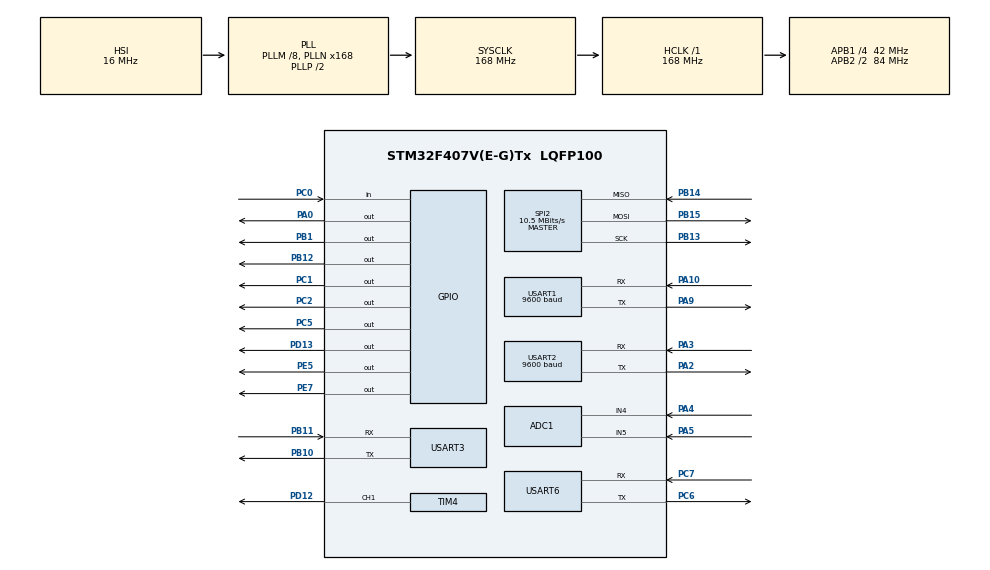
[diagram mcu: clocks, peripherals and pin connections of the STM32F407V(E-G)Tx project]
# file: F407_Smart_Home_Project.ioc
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ADC1.Channel-0\#ChannelRegularConversion=ADC_CHANNEL_4
ADC1.NbrOfConversionFlag=1
ADC1.Rank-0\#ChannelRegularConversion=1
ADC1.SamplingTime-0\#ChannelRegularConversion=ADC_SAMPLETIME_3CYCLES
ADC1.master=1
Mcu.Family=STM32F4
Mcu.Name=STM32F407V(E-G)Tx
Mcu.Package=LQFP100
NVIC.PriorityGroup=NVIC_PRIORITYGROUP_4
NVIC.USART1_IRQn=true\:0\:0\:false\:false\:true\:true\:true\:true
NVIC.USART2_IRQn=true\:0\:0\:false\:false\:true\:true\:true\:true
NVIC.USART3_IRQn=true\:0\:0\:false\:false\:true\:true\:true\:true
NVIC.USART6_IRQn=true\:0\:0\:false\:false\:true\:true\:true\:true
PA0-WKUP.PinState=GPIO_PIN_SET
PA0-WKUP.Signal=GPIO_Output
PA10.Mode=Asynchronous
PA10.Signal=USART1_RX
PA13.Mode=Serial_Wire
PA13.Signal=SYS_JTMS-SWDIO
PA14.Mode=Serial_Wire
PA14.Signal=SYS_JTCK-SWCLK
PA2.Mode=Asynchronous
PA2.Signal=USART2_TX
PA3.Mode=Asynchronous
PA3.Signal=USART2_RX
PA4.Signal=ADCx_IN4
PA5.Signal=ADCx_IN5
PA9.Mode=Asynchronous
PA9.Signal=USART1_TX
PB10.Mode=Asynchronous
PB10.Signal=USART3_TX
PB11.Mode=Asynchronous
PB11.Signal=USART3_RX
PB1.Signal=GPIO_Output
PB12.Signal=GPIO_Output
PB13.Mode=Full_Duplex_Master
PB13.Signal=SPI2_SCK
PB14.Mode=Full_Duplex_Master
PB14.Signal=SPI2_MISO
PB15.Mode=Full_Duplex_Master
PB15.Signal=SPI2_MOSI
PC0.GPIO_PuPd=GPIO_PULLUP
PC0.Signal=GPIO_Input
PC1.Signal=GPIO_Output
PC14-OSC32_IN.Mode=LSE-External-Oscillator
PC14-OSC32_IN.Signal=RCC_OSC32_IN
PC15-OSC32_OUT.Mode=LSE-External-Oscillator
PC15-OSC32_OUT.Signal=RCC_OSC32_OUT
PC2.Signal=GPIO_Output
PC5.Signal=GPIO_Output
PC6.Mode=Asynchronous
PC6.Signal=USART6_TX
PC7.Mode=Asynchronous
PC7.Signal=USART6_RX
PD12.Signal=S_TIM4_CH1
PD13.PinState=GPIO_PIN_RESET
PD13.Signal=GPIO_Output
PE7.Signal=GPIO_Output
PE5.Signal=GPIO_Output
PH0-OSC_IN.Mode=HSE-External-Oscillator
PH0-OSC_IN.Signal=RCC_OSC_IN
PH1-OSC_OUT.Mode=HSE-External-Oscillator
PH1-OSC_OUT.Signal=RCC_OSC_OUT
ProjectManager.HeapSize=0x200
ProjectManager.StackSize=0x400
ProjectManager.TargetToolchain=MDK-ARM V5.32
RCC.48MHZClocksFreq_Value=84000000
RCC.AHBFreq_Value=168000000
RCC.APB1CLKDivider=RCC_HCLK_DIV4
RCC.APB1Freq_Value=42000000
RCC.APB1TimFreq_Value=84000000
RCC.APB2CLKDivider=RCC_HCLK_DIV2
RCC.APB2Freq_Value=84000000
RCC.APB2TimFreq_Value=168000000
RCC.CortexFreq_Value=168000000
RCC.HCLKFreq_Value=168000000
RCC.HSE_VALUE=25000000
RCC.HSI_VALUE=16000000
RCC.PLLM=8
RCC.PLLN=168
RCC.SYSCLKFreq_VALUE=168000000
RCC.SYSCLKSource=RCC_SYSCLKSOURCE_PLLCLK
RCC.VCOOutputFreq_Value=336000000
SH.ADCx_IN4.0=ADC1_IN4,IN4
SH.ADCx_IN5.0=ADC1_IN5,IN5
SH.S_TIM4_CH1.0=TIM4_CH1,PWM Generation1 CH1
SPI2.BaudRatePrescaler=SPI_BAUDRATEPRESCALER_4
SPI2.CalculateBaudRate=10.5 MBits/s
SPI2.Direction=SPI_DIRECTION_2LINES
SPI2.Mode=SPI_MODE_MASTER
SPI2.VirtualType=VM_MASTER
TIM4.Channel-PWM\ Generation1\ CH1=TIM_CHANNEL_1
TIM4.Period=19999
TIM4.Prescaler=83
USART1.BaudRate=9600
USART1.VirtualMode=VM_ASYNC
USART2.BaudRate=9600
USART2.VirtualMode=VM_ASYNC
USART3.VirtualMode=VM_ASYNC
USART6.VirtualMode=VM_ASYNC
VP_TIM4_VS_ClockSourceINT.Mode=Internal
board=custom

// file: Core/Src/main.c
/* USER CODE BEGIN Header */
/**
  ******************************************************************************
  * @file           : main.c
  * @brief          : Main program body
  ******************************************************************************
  * @attention
  *
  * Copyright (c) 2026 STMicroelectronics.
  * All rights reserved.
  *
  * This software is licensed under terms that can be found in the LICENSE file
  * in the root directory of this software component.
  * If no LICENSE file comes with this software, it is provided AS-IS.
  *
  ******************************************************************************
  */
/* USER CODE END Header */
#include "main.h"
#include "adc.h"
#include "spi.h"
#include "tim.h"
#include "usart.h"
#include "gpio.h"

/* USER CODE BEGIN Includes */
#include "sensors.h"
#include "actuators.h"
#include "protocol.h"
#include "esp8266.h"
#include "voice_module.h"
#include "bluetooth_link.h"
#include "display_ui.h"
#include "lvgl.h"
#include "rtthread.h"
#include <string.h>
/* USER CODE END Includes */

/* USER CODE BEGIN PM */
#define WIFI_LOCATION_PERIOD_MS   60000U
#define AI_ANALYSIS_PERIOD_MS     120000U

/* USER CODE END PM */

/* USER CODE BEGIN PV */
static SensorData_t sensor_data;
static Esp8266Info_t wifi_info;
static rt_mutex_t data_mutex = RT_NULL;
static rt_mutex_t ui_mutex = RT_NULL;
static rt_mutex_t uart1_mutex = RT_NULL;
/* USER CODE END PV */

void SystemClock_Config(void);

/* USER CODE BEGIN 0 */
static void Uart1_SendString(const char *str)
{
    if (uart1_mutex != RT_NULL) {
        rt_mutex_take(uart1_mutex, RT_WAITING_FOREVER);
    }
    HAL_UART_Transmit(&huart1, (uint8_t *)str, (uint16_t)strlen(str), 1000);
    if (uart1_mutex != RT_NULL) {
        rt_mutex_release(uart1_mutex);
    }
}

static void PrintWifiInfo(const Esp8266Info_t *info)
{
    if (info->wifi_ok) {
        Uart1_SendString("WIFI:OK\r\n");
    } else {
        Uart1_SendString("WIFI:FAIL\r\n");
    }

    if (info->time_ok) {
        Uart1_SendString("TIME:");
        Uart1_SendString(info->time);
        Uart1_SendString("\r\n");
    } else {
        Uart1_SendString("TIME:FAIL\r\n");
    }

    if (info->location_ok) {
        Uart1_SendString("LOC:");
        Uart1_SendString(info->location);
        if (info->longitude[0] != '\0' && info->latitude[0] != '\0') {
            Uart1_SendString(" LNG:");
            Uart1_SendString(info->longitude);
            Uart1_SendString(" LAT:");
            Uart1_SendString(info->latitude);
        }
        Uart1_SendString("\r\n");
    } else {
        Uart1_SendString("LOC:FAIL\r\n");
    }

    if (info->weather_ok) {
        Uart1_SendString("WEATHER:");
        Uart1_SendString(info->weather_text);
        if (info->weather_temp[0] != '\0') {
            Uart1_SendString(" TEMP:");
            Uart1_SendString(info->weather_temp);
            Uart1_SendString("C");
        }
        if (info->weather_humidity[0] != '\0') {
            Uart1_SendString(" RH:");
            Uart1_SendString(info->weather_humidity);
            Uart1_SendString("%");
        }
        if (info->weather_wind[0] != '\0') {
            Uart1_SendString(" WIND:");
            Uart1_SendString(info->weather_wind);
        }
        Uart1_SendString("\r\n");
    } else {
        Uart1_SendString("WEATHER:FAIL\r\n");
    }
}

static void PrintClockAndSensors(void)
{
    SensorData_t data_snapshot;
    Esp8266Info_t wifi_snapshot;

    if (data_mutex != RT_NULL) {
        rt_mutex_take(data_mutex, RT_WAITING_FOREVER);
    }
    data_snapshot = sensor_data;
    wifi_snapshot = wifi_info;
    if (data_mutex != RT_NULL) {
        rt_mutex_release(data_mutex);
    }

    if (uart1_mutex != RT_NULL) {
        rt_mutex_take(uart1_mutex, RT_WAITING_FOREVER);
    }
    BluetoothLink_SendTelemetry(&data_snapshot, &wifi_snapshot);
    if (uart1_mutex != RT_NULL) {
        rt_mutex_release(uart1_mutex);
    }
}

static uint8_t WifiInfoIsComplete(const Esp8266Info_t *info)
{
    return (info != NULL &&
            info->wifi_ok &&
            info->time_ok &&
            info->location_ok &&
            info->weather_ok) ? 1U : 0U;
}

static void SyncWifiInfo(void)
{
    Esp8266Info_t new_info;

    Uart1_SendString("WIFI AUTO SYNC START\r\n");
    if (ui_mutex != RT_NULL) {
        rt_mutex_take(ui_mutex, RT_WAITING_FOREVER);
    }
    DisplayUI_ShowStatus("WiFi sync...");
    if (ui_mutex != RT_NULL) {
        rt_mutex_release(ui_mutex);
    }

    if (Esp8266_Sync(&new_info)) {
        if (data_mutex != RT_NULL) {
            rt_mutex_take(data_mutex, RT_WAITING_FOREVER);
        }
        new_info.ai_ok = wifi_info.ai_ok;
        memcpy(new_info.ai_advice, wifi_info.ai_advice, sizeof(new_info.ai_advice));
        memcpy(new_info.ai_error, wifi_info.ai_error, sizeof(new_info.ai_error));
        memcpy(&wifi_info, &new_info, sizeof(wifi_info));
        if (data_mutex != RT_NULL) {
            rt_mutex_release(data_mutex);
        }

        PrintWifiInfo(&new_info);
        Uart1_SendString("SYNC:PRINT DONE\r\n");
        if (ui_mutex != RT_NULL) {
            rt_mutex_take(ui_mutex, RT_WAITING_FOREVER);
        }
        DisplayUI_ShowStatus(WifiInfoIsComplete(&new_info) ? "WiFi data OK" : "WiFi partial");
        if (ui_mutex != RT_NULL) {
            rt_mutex_release(ui_mutex);
        }
        Uart1_SendString("SYNC:STATUS DONE\r\n");
    } else {
        Uart1_SendString("WIFI AUTO SYNC FAIL\r\nERR:");
        Uart1_SendString(Esp8266_GetLastError());
        Uart1_SendString("\r\n");
        if (ui_mutex != RT_NULL) {
            rt_mutex_take(ui_mutex, RT_WAITING_FOREVER);
        }
        DisplayUI_ShowStatus("WiFi sync FAIL");
        if (ui_mutex != RT_NULL) {
            rt_mutex_release(ui_mutex);
        }
    }
}

#if 0
static void AnalyzeCropWithDoubao(void)
{
    SensorData_t data_snapshot;
    Esp8266Info_t wifi_snapshot;
    char advice[96] = {0};
    uint8_t ok;

    if (data_mutex != RT_NULL) {
        rt_mutex_take(data_mutex, RT_WAITING_FOREVER);
    }
    data_snapshot = sensor_data;
    wifi_snapshot = wifi_info;
    if (data_mutex != RT_NULL) {
        rt_mutex_release(data_mutex);
    }

    if (!wifi_snapshot.wifi_ok) {
        if (data_mutex != RT_NULL) {
            rt_mutex_take(data_mutex, RT_WAITING_FOREVER);
        }
        wifi_info.ai_ok = 0U;
        wifi_info.ai_advice[0] = '\0';
        strncpy(wifi_info.ai_error, "WIFI_FAIL", sizeof(wifi_info.ai_error) - 1U);
        wifi_info.ai_error[sizeof(wifi_info.ai_error) - 1U] = '\0';
        if (data_mutex != RT_NULL) {
            rt_mutex_release(data_mutex);
        }
        Uart1_SendString("DOUBAO:SKIP WIFI_FAIL\r\n");
        return;
    }

    Uart1_SendString("DOUBAO:ANALYZE START\r\n");
    ok = Esp8266_AnalyzeCrop(&data_snapshot, &wifi_snapshot, advice, sizeof(advice));

    if (data_mutex != RT_NULL) {
        rt_mutex_take(data_mutex, RT_WAITING_FOREVER);
    }
    wifi_info.ai_ok = ok;
    if (ok) {
        strncpy(wifi_info.ai_advice, advice, sizeof(wifi_info.ai_advice) - 1U);
        wifi_info.ai_advice[sizeof(wifi_info.ai_advice) - 1U] = '\0';
        wifi_info.ai_error[0] = '\0';
    } else {
        wifi_info.ai_advice[0] = '\0';
        strncpy(wifi_info.ai_error, Esp8266_GetLastError(), sizeof(wifi_info.ai_error) - 1U);
        wifi_info.ai_error[sizeof(wifi_info.ai_error) - 1U] = '\0';
    }
    if (data_mutex != RT_NULL) {
        rt_mutex_release(data_mutex);
    }

    if (ok) {
        Uart1_SendString("DOUBAO:OK ");
        Uart1_SendString(advice);
        Uart1_SendString("\r\n");
    } else {
        Uart1_SendString("DOUBAO:FAIL ");
        Uart1_SendString(Esp8266_GetLastError());
        Uart1_SendString("\r\n");
    }
}
#endif

static void SensorThreadEntry(void *parameter)
{
    SensorData_t data;

    RT_UNUSED(parameter);
    while (1) {
        Sensors_ReadAll(&data);
        if (data_mutex != RT_NULL) {
            rt_mutex_take(data_mutex, RT_WAITING_FOREVER);
        }
        sensor_data = data;
        if (data_mutex != RT_NULL) {
            rt_mutex_release(data_mutex);
        }

        PrintClockAndSensors();
        rt_thread_mdelay(1000);
    }
}

static void WifiThreadEntry(void *parameter)
{
    uint32_t elapsed_ms = 0U;

    RT_UNUSED(parameter);
    rt_thread_mdelay(1500);
    SyncWifiInfo();

    while (1) {
        rt_thread_mdelay(1000);
        elapsed_ms += 1000U;

        if (elapsed_ms % WIFI_LOCATION_PERIOD_MS == 0U) {
            SyncWifiInfo();
        }
    }
}

static void ProtocolThreadEntry(void *parameter)
{
    RT_UNUSED(parameter);
    while (1) {
        Protocol_Process();
        rt_thread_mdelay(10);
    }
}

static void VoiceThreadEntry(void *parameter)
{
    SensorData_t data_snapshot;
    Esp8266Info_t wifi_snapshot;

    RT_UNUSED(parameter);
    while (1) {
        if (data_mutex != RT_NULL) {
            rt_mutex_take(data_mutex, RT_WAITING_FOREVER);
        }
        data_snapshot = sensor_data;
        wifi_snapshot = wifi_info;
        if (data_mutex != RT_NULL) {
            rt_mutex_release(data_mutex);
        }

        VoiceModule_Process(&data_snapshot, &wifi_snapshot);
        rt_thread_mdelay(10);
    }
}

static void DisplayThreadEntry(void *parameter)
{
    SensorData_t data_snapshot;
    Esp8266Info_t wifi_snapshot;
    uint32_t last_update_tick = 0U;

    RT_UNUSED(parameter);
    while (1) {
        if (HAL_GetTick() - last_update_tick >= 1000U) {
            last_update_tick = HAL_GetTick();
            if (data_mutex != RT_NULL) {
                rt_mutex_take(data_mutex, RT_WAITING_FOREVER);
            }
            data_snapshot = sensor_data;
            wifi_snapshot = wifi_info;
            if (data_mutex != RT_NULL) {
                rt_mutex_release(data_mutex);
            }

            if (ui_mutex != RT_NULL) {
                rt_mutex_take(ui_mutex, RT_WAITING_FOREVER);
            }
            DisplayUI_Update(&data_snapshot, &wifi_snapshot);
            if (ui_mutex != RT_NULL) {
                rt_mutex_release(ui_mutex);
            }
        }

        if (ui_mutex != RT_NULL) {
            rt_mutex_take(ui_mutex, RT_WAITING_FOREVER);
        }
        DisplayUI_Process();
        if (ui_mutex != RT_NULL) {
            rt_mutex_release(ui_mutex);
        }
        rt_thread_mdelay(5);
    }
}

static void ActuatorThreadEntry(void *parameter)
{
    RT_UNUSED(parameter);
    while (1) {
        Buzzer_Process();
        rt_thread_mdelay(10);
    }
}

static void CreateAppThread(const char *name,
                            void (*entry)(void *parameter),
                            rt_uint32_t stack_size,
                            rt_uint8_t priority,
                            rt_uint32_t tick)
{
    rt_thread_t tid;

    tid = rt_thread_create(name, entry, RT_NULL, stack_size, priority, tick);
    if (tid != RT_NULL) {
        rt_thread_startup(tid);
    } else {
        Uart1_SendString("THREAD CREATE FAIL:");
        Uart1_SendString(name);
        Uart1_SendString("\r\n");
    }
}
/* USER CODE END 0 */

int main(void)
{

  /* MCU Configuration--------------------------------------------------------*/

  /* HAL and system clock are initialized in rt_hw_board_init(). */

  /* System clock is already configured before the RT-Thread scheduler starts. */

  /* Initialize all configured peripherals */
  MX_GPIO_Init();
  MX_ADC1_Init();
  MX_SPI2_Init();
  MX_TIM4_Init();
  MX_USART1_UART_Init();
  MX_USART2_UART_Init();
  MX_USART3_UART_Init();
  MX_USART6_UART_Init();
  /* USER CODE BEGIN 2 */
  data_mutex = rt_mutex_create("datam", RT_IPC_FLAG_PRIO);
  ui_mutex = rt_mutex_create("uim", RT_IPC_FLAG_PRIO);
  uart1_mutex = rt_mutex_create("u1m", RT_IPC_FLAG_PRIO);
  Actuators_Init();
  Sensors_Init();
  DisplayUI_Init();
  Esp8266_Init();
  Protocol_Init();
  VoiceModule_Init();
  HAL_UART_Transmit(&huart1, (uint8_t *)"START\r\n", 7, 1000);
  Uart1_SendString("RT-Thread Nano start\r\n");
  Uart1_SendString("VOICE:USART6 PC6 TX PC7 RX\r\n");
  CreateAppThread("sensor", SensorThreadEntry, 2048, 12, 10);
  CreateAppThread("wifi", WifiThreadEntry, 4096, 16, 10);
  CreateAppThread("proto", ProtocolThreadEntry, 1536, 11, 10);
  CreateAppThread("voice", VoiceThreadEntry, 2048, 13, 10);
  CreateAppThread("disp", DisplayThreadEntry, 4096, 14, 10);
  CreateAppThread("act", ActuatorThreadEntry, 1024, 10, 10);
  /* USER CODE END 2 */

  /* Infinite loop */
  while (1)
  {

    /* USER CODE BEGIN 3 */
    rt_thread_mdelay(1000);
  }
  /* USER CODE END 3 */
}

void SystemClock_Config(void)
{
  RCC_OscInitTypeDef RCC_OscInitStruct = {0};
  RCC_ClkInitTypeDef RCC_ClkInitStruct = {0};

  /** Configure the main internal regulator output voltage
  */
  __HAL_RCC_PWR_CLK_ENABLE();
  __HAL_PWR_VOLTAGESCALING_CONFIG(PWR_REGULATOR_VOLTAGE_SCALE1);

  /** Initializes the RCC Oscillators according to the specified parameters
  * in the RCC_OscInitTypeDef structure.
  */
  RCC_OscInitStruct.OscillatorType = RCC_OSCILLATORTYPE_HSI;
  RCC_OscInitStruct.HSIState = RCC_HSI_ON;
  RCC_OscInitStruct.HSICalibrationValue = RCC_HSICALIBRATION_DEFAULT;
  RCC_OscInitStruct.PLL.PLLState = RCC_PLL_ON;
  RCC_OscInitStruct.PLL.PLLSource = RCC_PLLSOURCE_HSI;
  RCC_OscInitStruct.PLL.PLLM = 8;
  RCC_OscInitStruct.PLL.PLLN = 168;
  RCC_OscInitStruct.PLL.PLLP = RCC_PLLP_DIV2;
  RCC_OscInitStruct.PLL.PLLQ = 4;
  if (HAL_RCC_OscConfig(&RCC_OscInitStruct) != HAL_OK)
  {
    Error_Handler();
  }

  /** Initializes the CPU, AHB and APB buses clocks
  */
  RCC_ClkInitStruct.ClockType = RCC_CLOCKTYPE_HCLK|RCC_CLOCKTYPE_SYSCLK
                              |RCC_CLOCKTYPE_PCLK1|RCC_CLOCKTYPE_PCLK2;
  RCC_ClkInitStruct.SYSCLKSource = RCC_SYSCLKSOURCE_PLLCLK;
  RCC_ClkInitStruct.AHBCLKDivider = RCC_SYSCLK_DIV1;
  RCC_ClkInitStruct.APB1CLKDivider = RCC_HCLK_DIV4;
  RCC_ClkInitStruct.APB2CLKDivider = RCC_HCLK_DIV2;

  if (HAL_RCC_ClockConfig(&RCC_ClkInitStruct, FLASH_LATENCY_5) != HAL_OK)
  {
    Error_Handler();
  }
}

void Error_Handler(void)
{
  __disable_irq();
  while (1)
  {
  }
}
